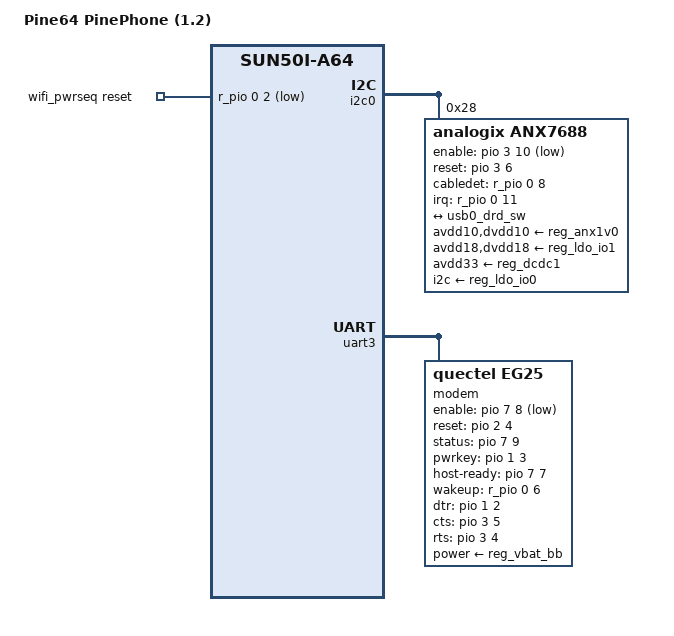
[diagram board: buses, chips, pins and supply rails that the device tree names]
// SPDX-License-Identifier: (GPL-2.0+ OR MIT)
// Copyright (C) 2020 Ondrej Jirman <megous@megous.com>

/dts-v1/;

#include "sun50i-a64-pinephone.dtsi"

/ {
	model = "Pine64 PinePhone (1.2)";
	compatible = "pine64,pinephone-1.2", "pine64,pinephone", "allwinner,sun50i-a64";

	wifi_pwrseq: wifi-pwrseq {
		compatible = "mmc-pwrseq-simple";
		reset-gpios = <&r_pio 0 2 GPIO_ACTIVE_LOW>; /* PL2 */
	};
};

&axp803 {
	x-powers,sense-vbus-en;
};

&backlight {
	power-supply = <&reg_ldo_io0>;
	lth-brightness = <10>;
};

&lis3mdl {
	/*
	 * Board revision 1.2 fixed routing of the interrupt to DRDY pin,
	 * enable interrupts.
	 */
	interrupt-parent = <&pio>;
	interrupts = <1 1 IRQ_TYPE_EDGE_RISING>; /* PB1 */
};

&mmc1 {
	mmc-pwrseq = <&wifi_pwrseq>;
};

&i2c0 {
	anx7688: hdmi-bridge@28 {
		compatible = "analogix,anx7688";
		reg = <0x28>;

		interrupt-parent = <&r_pio>;
		interrupts = <0 11 IRQ_TYPE_EDGE_FALLING>; /* PL11 */

		enable-gpios = <&pio 3 10 GPIO_ACTIVE_LOW>; /* PD10 */
		reset-gpios = <&pio 3 6 GPIO_ACTIVE_HIGH>; /* PD6 */

		cabledet-gpios = <&r_pio 0 8 GPIO_ACTIVE_HIGH>; /* PL8 */

		avdd10-supply = <&reg_anx1v0>;
		dvdd10-supply = <&reg_anx1v0>;
		avdd18-supply = <&reg_ldo_io1>;
		dvdd18-supply = <&reg_ldo_io1>;
		avdd33-supply = <&reg_dcdc1>;
		i2c-supply = <&reg_ldo_io0>;
		vconn-supply = <&reg_vconn5v0>;
		hdmi_vt-supply = <&reg_dldo1>;

		source-caps = <
			PDO_FIXED(5000, 500, PDO_FIXED_DATA_SWAP | PDO_FIXED_USB_COMM | PDO_FIXED_DUAL_ROLE)
		>;

		sink-caps = <
			PDO_FIXED(5000, 3000, PDO_FIXED_DATA_SWAP | PDO_FIXED_USB_COMM | PDO_FIXED_DUAL_ROLE)
		>;

		/*
		 * ANX7688 will enable/disable USB-5V <-> DCIN switch by itself
		 * via VBUS_CTRL pin. The driver just has to enable the USB-5V
		 * so that the switch has power.
		 */
		vbus-supply = <&reg_usb_5v>;
		vbus_in-supply = <&usb_power_supply>;

		port {
			typec0_dr_sw: endpoint {
				remote-endpoint = <&usb0_drd_sw>;
			};
		};
	};
};

&reg_anx1v0 {
	gpio = <&pio 3 11 GPIO_ACTIVE_HIGH>; /* PD11 */
	enable-active-high;
};

&sgm3140 {
	enable-gpios = <&pio 3 24 GPIO_ACTIVE_HIGH>; /* PD24 */
	flash-gpios = <&pio 2 3 GPIO_ACTIVE_HIGH>; /* PC3 */
};

&uart3 {
	modem {
		compatible = "quectel,eg25";
		char-device-name = "modem-power";

		power-supply = <&reg_vbat_bb>; /* PL7 */

		enable-gpios = <&pio 7 8 GPIO_ACTIVE_LOW>; /* PH8 */
		reset-gpios = <&pio 2 4 GPIO_ACTIVE_HIGH>; /* PC4 */
		status-gpios = <&pio 7 9 GPIO_ACTIVE_HIGH>; /* PH9 */
		pwrkey-gpios = <&pio 1 3 GPIO_ACTIVE_HIGH>; /* PB3 */

		host-ready-gpios = <&pio 7 7 GPIO_ACTIVE_HIGH>; /* PH7 */
		wakeup-gpios = <&r_pio 0 6 GPIO_ACTIVE_HIGH>; /* PL6-RI */

		dtr-gpios = <&pio 1 2 GPIO_ACTIVE_HIGH>; /* PB2-DTR */
		cts-gpios = <&pio 3 5 GPIO_ACTIVE_HIGH>; /* PD5-CTS */
		rts-gpios = <&pio 3 4 GPIO_ACTIVE_HIGH>; /* PD4-RTS */

		quectel,qdai = "1,1,0,1,0,0,1,1";
	};
};

&usbphy {
	usb-role-switch;

	port {
		usb0_drd_sw: endpoint {
			remote-endpoint = <&typec0_dr_sw>;
		};
	};
};

&hdmi {
	extcon = <&anx7688 0>;
};
